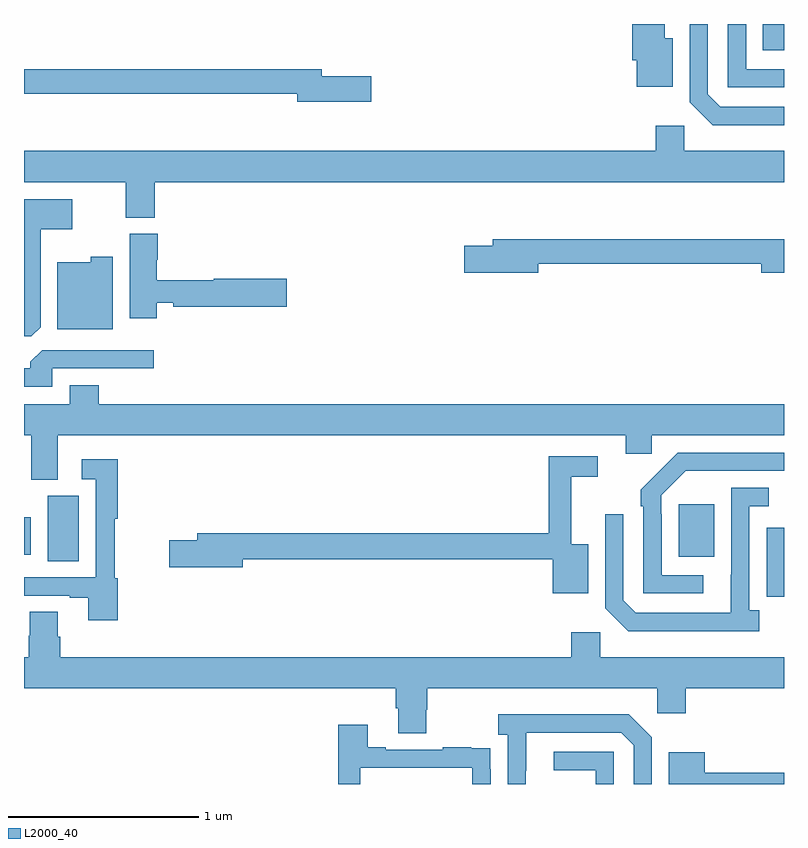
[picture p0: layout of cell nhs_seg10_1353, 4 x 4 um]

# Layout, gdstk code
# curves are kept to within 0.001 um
import gdstk
lib = gdstk.Library(unit=1e-6, precision=1e-09)
def R(c, l, rs):  # rectangles x0, y0, x1, y1
    for r in rs: c.add(gdstk.rectangle(r[:2], r[2:], *l))
def P(c, l, *ps):  # polygons
    for p in ps: c.add(gdstk.Polygon(p, *l))
L2000_40 = (2000, 40)

nhs_seg10_1353 = lib.new_cell('nhs_seg10_1353')
R(nhs_seg10_1353, L2000_40, [(181.124,1279.672,181.288,1280.016), (184.445,1279.697,184.633,1279.972), (181,1279.707,181.036,1279.903), (184.889,1282.361,185,1282.5)])
P(nhs_seg10_1353, L2000_40, [(185,1282.065),(184.665,1282.065),(184.599,1282.131),(184.599,1282.5),(184.503,1282.5),(184.503,1282.089),(184.624,1281.968),(185,1281.968)],
  [(185,1282.263),(184.8,1282.263),(184.8,1282.5),(184.704,1282.5),(184.704,1282.167),(185,1282.167)],
  [(184.414,1282.426),(184.372,1282.426),(184.372,1282.5),(184.202,1282.5),(184.202,1282.308),(184.226,1282.308),(184.226,1282.169),(184.414,1282.169)],
  [(182.827,1282.226),(182.566,1282.226),(182.566,1282.262),(181,1282.262),(181,1282.134),(182.438,1282.134),(182.438,1282.091),(182.827,1282.091)],
  [(181.688,1281.668),(185,1281.668),(185,1281.832),(184.476,1281.832),(184.476,1281.964),(184.325,1281.964),(184.325,1281.832),(181,1281.832),(181,1281.668),(181.535,1281.668),(181.535,1281.481),(181.688,1281.481)],
  [(181.087,1280.905),(181.087,1281.419),(181.255,1281.419),(181.255,1281.577),(181,1281.577),(181,1280.856),(181.038,1280.856)],
  [(181.698,1281.034),(181.786,1281.034),(181.786,1281.011),(182.383,1281.011),(182.383,1281.158),(181.998,1281.158),(181.998,1281.152),(181.698,1281.152),(181.698,1281.26),(181.703,1281.26),(181.703,1281.396),(181.556,1281.396),(181.556,1280.952),(181.698,1280.952)],
  [(183.706,1281.238),(184.88,1281.238),(184.88,1281.191),(185,1281.191),(185,1281.367),(183.467,1281.367),(183.467,1281.333),(183.318,1281.333),(183.318,1281.191),(183.706,1281.191)],
  [(181.468,1281.274),(181.35,1281.274),(181.35,1281.247),(181.175,1281.247),(181.175,1280.894),(181.468,1280.894)],
  [(181.149,1280.688),(181.684,1280.688),(181.684,1280.784),(181.095,1280.784),(181.034,1280.722),(181.034,1280.688),(181,1280.688),(181,1280.592),(181.149,1280.592)],
  [(181.177,1280.336),(184.166,1280.336),(184.166,1280.238),(184.305,1280.238),(184.305,1280.336),(185,1280.336),(185,1280.5),(181.394,1280.5),(181.394,1280.599),(181.241,1280.599),(181.241,1280.5),(181,1280.5),(181,1280.336),(181.037,1280.336),(181.037,1280.101),(181.177,1280.101)],
  [(184.576,1279.599),(184.356,1279.599),(184.356,1279.919),(184.353,1279.919),(184.353,1280.019),(184.482,1280.148),(185,1280.148),(185,1280.244),(184.442,1280.244),(184.245,1280.049),(184.245,1279.961),(184.26,1279.961),(184.26,1279.503),(184.576,1279.503)],
  [(183.97,1279.762),(183.881,1279.762),(183.881,1280.118),(184.021,1280.118),(184.021,1280.226),(183.763,1280.226),(183.763,1279.82),(181.913,1279.82),(181.913,1279.784),(181.764,1279.784),(181.764,1279.642),(182.152,1279.642),(182.152,1279.684),(183.783,1279.684),(183.783,1279.505),(183.97,1279.505)],
  [(181.493,1279.584),(181.478,1279.584),(181.478,1279.896),(181.493,1279.896),(181.493,1280.209),(181.305,1280.209),(181.305,1280.103),(181.377,1280.103),(181.377,1279.587),(181,1279.587),(181,1279.491),(181.241,1279.491),(181.241,1279.479),(181.337,1279.479),(181.337,1279.362),(181.493,1279.362)],
  [(184.87,1279.414),(184.818,1279.414),(184.818,1279.962),(184.921,1279.962),(184.921,1280.058),(184.722,1280.058),(184.721,1279.401),(184.221,1279.401),(184.155,1279.467),(184.155,1279.921),(184.059,1279.921),(184.059,1279.425),(184.18,1279.304),(184.87,1279.304)],
  [(185,1279.849),(184.908,1279.849),(184.908,1279.594),(184.909,1279.594),(184.909,1279.485),(185,1279.485)],
  [(183.117,1278.891),(183.122,1278.891),(183.122,1279.004),(184.332,1279.004),(184.332,1278.873),(184.484,1278.873),(184.484,1279.004),(185,1279.004),(185,1279.168),(184.032,1279.168),(184.032,1279.3),(183.881,1279.3),(183.881,1279.168),(181.19,1279.168),(181.19,1279.274),(181.177,1279.274),(181.177,1279.406),(181.03,1279.406),(181.03,1279.281),(181.025,1279.281),(181.025,1279.168),(181,1279.168),(181,1279.004),(182.957,1279.004),(182.957,1278.898),(182.969,1278.898),(182.969,1278.766),(183.117,1278.766)],
  [(183.642,1278.571),(183.643,1278.771),(184.143,1278.771),(184.209,1278.705),(184.209,1278.5),(184.305,1278.5),(184.305,1278.747),(184.184,1278.868),(183.495,1278.868),(183.495,1278.758),(183.546,1278.758),(183.546,1278.5),(183.642,1278.5)],
  [(182.769,1278.585),(183.36,1278.585),(183.36,1278.5),(183.456,1278.5),(183.456,1278.578),(183.455,1278.578),(183.455,1278.687),(183.353,1278.687),(183.353,1278.694),(183.205,1278.694),(183.205,1278.681),(182.905,1278.681),(182.905,1278.694),(182.809,1278.694),(182.809,1278.811),(182.653,1278.811),(182.653,1278.5),(182.769,1278.5)],
  [(184.104,1278.669),(183.789,1278.669),(183.789,1278.573),(184.008,1278.573),(184.008,1278.5),(184.104,1278.5)],
  [(185,1278.558),(184.582,1278.558),(184.582,1278.667),(184.394,1278.667),(184.394,1278.5),(185,1278.5)])

lib.write_gds('nhs_seg10_1353.gds')
